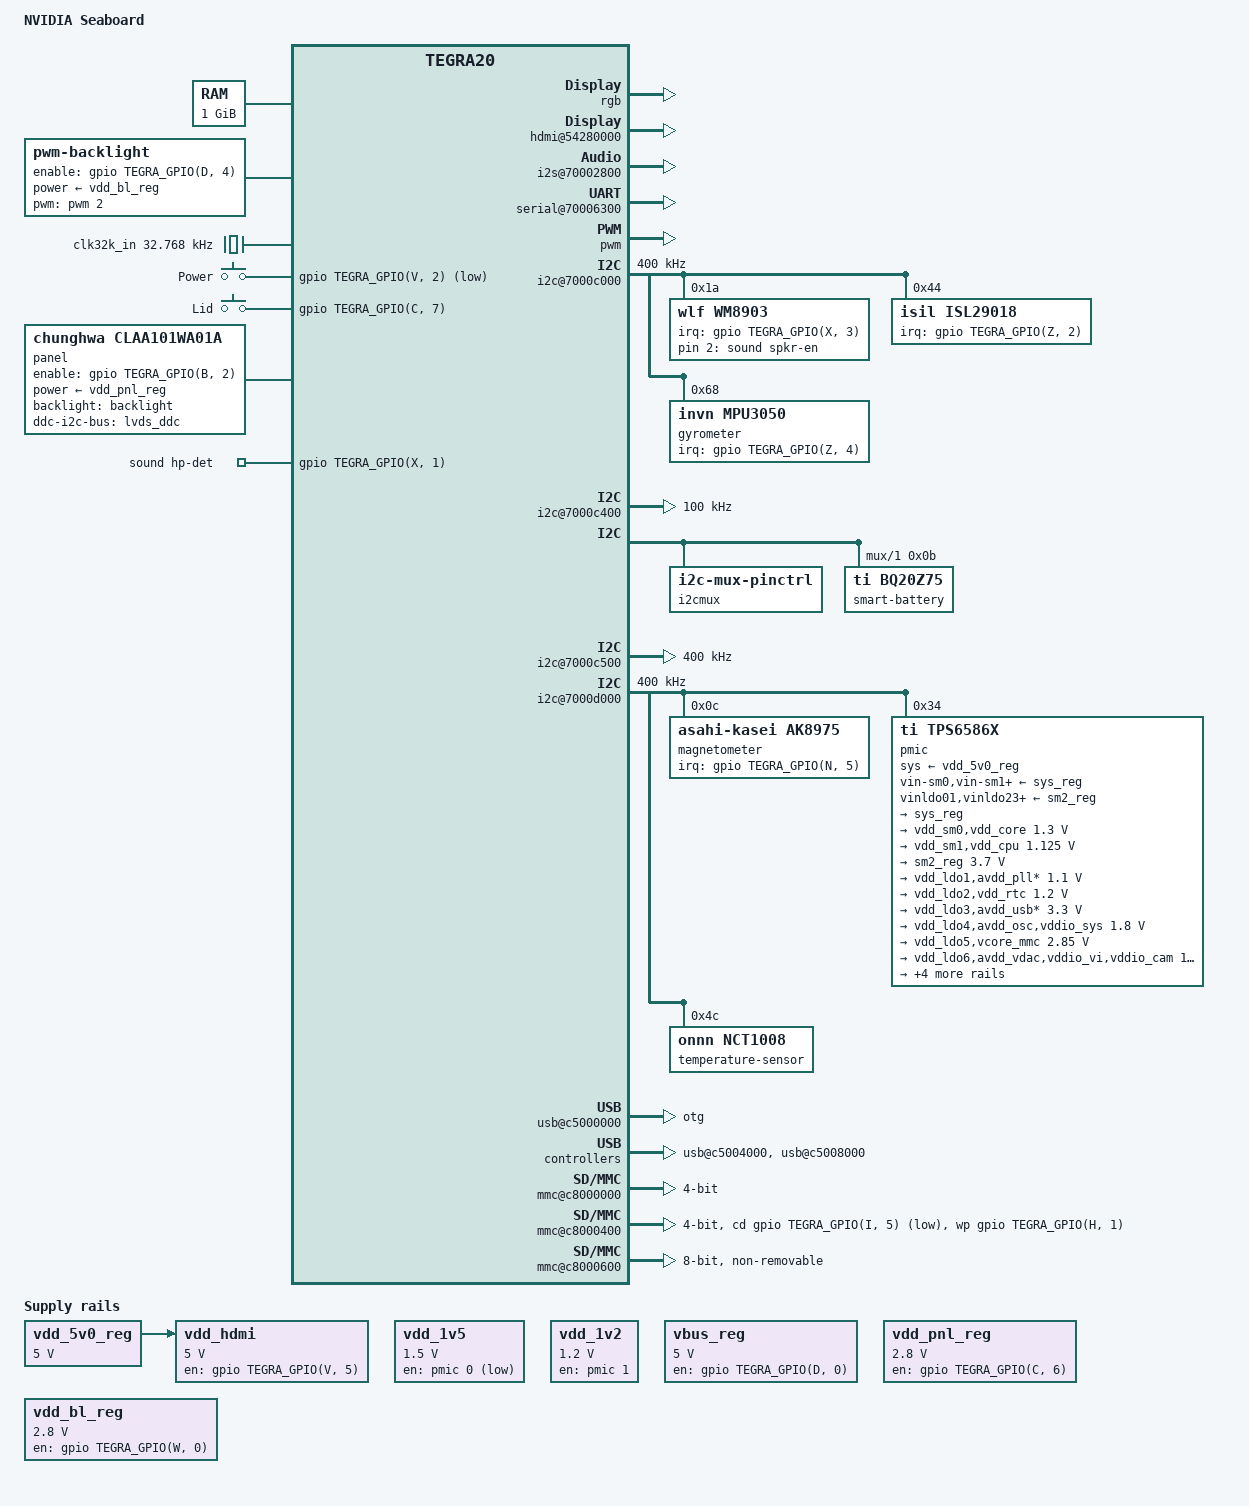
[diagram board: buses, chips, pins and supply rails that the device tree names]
// SPDX-License-Identifier: GPL-2.0
/dts-v1/;

#include <dt-bindings/input/input.h>
#include "tegra20.dtsi"

/ {
	model = "NVIDIA Seaboard";
	compatible = "nvidia,seaboard", "nvidia,tegra20";

	aliases {
		rtc0 = "/i2c@7000d000/tps6586x@34";
		rtc1 = "/rtc@7000e000";
		serial0 = &uartd;
	};

	chosen {
		stdout-path = "serial0:115200n8";
	};

	memory@0 {
		reg = <0x00000000 0x40000000>;
	};

	host1x@50000000 {
		dc@54200000 {
			rgb {
				status = "okay";

				nvidia,panel = <&panel>;
			};
		};

		hdmi@54280000 {
			status = "okay";

			vdd-supply = <&hdmi_vdd_reg>;
			pll-supply = <&hdmi_pll_reg>;
			hdmi-supply = <&vdd_hdmi>;

			nvidia,ddc-i2c-bus = <&hdmi_ddc>;
			nvidia,hpd-gpio = <&gpio TEGRA_GPIO(N, 7)
				GPIO_ACTIVE_HIGH>;
		};
	};

	pinmux@70000014 {
		pinctrl-names = "default";
		pinctrl-0 = <&state_default>;

		state_default: pinmux {
			ata {
				nvidia,pins = "ata";
				nvidia,function = "ide";
			};
			atb {
				nvidia,pins = "atb", "gma", "gme";
				nvidia,function = "sdio4";
			};
			atc {
				nvidia,pins = "atc";
				nvidia,function = "nand";
			};
			atd {
				nvidia,pins = "atd", "ate", "gmb", "spia",
					"spib", "spic";
				nvidia,function = "gmi";
			};
			cdev1 {
				nvidia,pins = "cdev1";
				nvidia,function = "plla_out";
			};
			cdev2 {
				nvidia,pins = "cdev2";
				nvidia,function = "pllp_out4";
			};
			crtp {
				nvidia,pins = "crtp", "lm1";
				nvidia,function = "crt";
			};
			csus {
				nvidia,pins = "csus";
				nvidia,function = "vi_sensor_clk";
			};
			dap1 {
				nvidia,pins = "dap1";
				nvidia,function = "dap1";
			};
			dap2 {
				nvidia,pins = "dap2";
				nvidia,function = "dap2";
			};
			dap3 {
				nvidia,pins = "dap3";
				nvidia,function = "dap3";
			};
			dap4 {
				nvidia,pins = "dap4";
				nvidia,function = "dap4";
			};
			dta {
				nvidia,pins = "dta", "dtb", "dtc", "dtd", "dte";
				nvidia,function = "vi";
			};
			dtf {
				nvidia,pins = "dtf";
				nvidia,function = "i2c3";
			};
			gmc {
				nvidia,pins = "gmc";
				nvidia,function = "uartd";
			};
			gmd {
				nvidia,pins = "gmd";
				nvidia,function = "sflash";
			};
			gpu {
				nvidia,pins = "gpu";
				nvidia,function = "pwm";
			};
			gpu7 {
				nvidia,pins = "gpu7";
				nvidia,function = "rtck";
			};
			gpv {
				nvidia,pins = "gpv", "slxa", "slxk";
				nvidia,function = "pcie";
			};
			hdint {
				nvidia,pins = "hdint", "lpw0", "lpw2", "lsc1",
					"lsck", "lsda";
				nvidia,function = "hdmi";
			};
			i2cp {
				nvidia,pins = "i2cp";
				nvidia,function = "i2cp";
			};
			irrx {
				nvidia,pins = "irrx", "irtx";
				nvidia,function = "uartb";
			};
			kbca {
				nvidia,pins = "kbca", "kbcb", "kbcc", "kbcd",
					"kbce", "kbcf";
				nvidia,function = "kbc";
			};
			lcsn {
				nvidia,pins = "lcsn", "ldc", "lm0", "lpw1",
					"lsdi", "lvp0";
				nvidia,function = "rsvd4";
			};
			ld0 {
				nvidia,pins = "ld0", "ld1", "ld2", "ld3", "ld4",
					"ld5", "ld6", "ld7", "ld8", "ld9",
					"ld10", "ld11", "ld12", "ld13", "ld14",
					"ld15", "ld16", "ld17", "ldi", "lhp0",
					"lhp1", "lhp2", "lhs", "lpp", "lsc0",
					"lspi", "lvp1", "lvs";
				nvidia,function = "displaya";
			};
			owc {
				nvidia,pins = "owc", "spdi", "spdo", "uac";
				nvidia,function = "rsvd2";
			};
			pmc {
				nvidia,pins = "pmc";
				nvidia,function = "pwr_on";
			};
			rm {
				nvidia,pins = "rm";
				nvidia,function = "i2c1";
			};
			sdb {
				nvidia,pins = "sdb", "sdc", "sdd";
				nvidia,function = "sdio3";
			};
			sdio1 {
				nvidia,pins = "sdio1";
				nvidia,function = "sdio1";
			};
			slxc {
				nvidia,pins = "slxc", "slxd";
				nvidia,function = "spdif";
			};
			spid {
				nvidia,pins = "spid", "spie", "spif";
				nvidia,function = "spi1";
			};
			spig {
				nvidia,pins = "spig", "spih";
				nvidia,function = "spi2_alt";
			};
			uaa {
				nvidia,pins = "uaa", "uab", "uda";
				nvidia,function = "ulpi";
			};
			uad {
				nvidia,pins = "uad";
				nvidia,function = "irda";
			};
			uca {
				nvidia,pins = "uca", "ucb";
				nvidia,function = "uartc";
			};
			conf_ata {
				nvidia,pins = "ata", "atb", "atc", "atd",
					"cdev1", "cdev2", "dap1", "dap2",
					"dap4", "ddc", "dtf", "gma", "gmc", "gmd",
					"gme", "gpu", "gpu7", "i2cp", "irrx",
					"irtx", "pta", "rm", "sdc", "sdd",
					"slxd", "slxk", "spdi", "spdo", "uac",
					"uad", "uca", "ucb", "uda";
				nvidia,pull = <TEGRA_PIN_PULL_NONE>;
				nvidia,tristate = <TEGRA_PIN_DISABLE>;
			};
			conf_ate {
				nvidia,pins = "ate", "csus", "dap3",
					"gpv", "owc", "slxc", "spib", "spid",
					"spie";
				nvidia,pull = <TEGRA_PIN_PULL_NONE>;
				nvidia,tristate = <TEGRA_PIN_ENABLE>;
			};
			conf_ck32 {
				nvidia,pins = "ck32", "ddrc", "pmca", "pmcb",
					"pmcc", "pmcd", "pmce", "xm2c", "xm2d";
				nvidia,pull = <TEGRA_PIN_PULL_NONE>;
			};
			conf_crtp {
				nvidia,pins = "crtp", "gmb", "slxa", "spia",
					"spig", "spih";
				nvidia,pull = <TEGRA_PIN_PULL_UP>;
				nvidia,tristate = <TEGRA_PIN_ENABLE>;
			};
			conf_dta {
				nvidia,pins = "dta", "dtb", "dtc", "dtd";
				nvidia,pull = <TEGRA_PIN_PULL_DOWN>;
				nvidia,tristate = <TEGRA_PIN_DISABLE>;
			};
			conf_dte {
				nvidia,pins = "dte", "spif";
				nvidia,pull = <TEGRA_PIN_PULL_DOWN>;
				nvidia,tristate = <TEGRA_PIN_ENABLE>;
			};
			conf_hdint {
				nvidia,pins = "hdint", "lcsn", "ldc", "lm1",
					"lpw1", "lsc1", "lsck", "lsda", "lsdi",
					"lvp0";
				nvidia,tristate = <TEGRA_PIN_ENABLE>;
			};
			conf_kbca {
				nvidia,pins = "kbca", "kbcb", "kbcc", "kbcd",
					"kbce", "kbcf", "sdio1", "spic", "uaa",
					"uab";
				nvidia,pull = <TEGRA_PIN_PULL_UP>;
				nvidia,tristate = <TEGRA_PIN_DISABLE>;
			};
			conf_lc {
				nvidia,pins = "lc", "ls";
				nvidia,pull = <TEGRA_PIN_PULL_UP>;
			};
			conf_ld0 {
				nvidia,pins = "ld0", "ld1", "ld2", "ld3", "ld4",
					"ld5", "ld6", "ld7", "ld8", "ld9",
					"ld10", "ld11", "ld12", "ld13", "ld14",
					"ld15", "ld16", "ld17", "ldi", "lhp0",
					"lhp1", "lhp2", "lhs", "lm0", "lpp",
					"lpw0", "lpw2", "lsc0", "lspi", "lvp1",
					"lvs", "pmc", "sdb";
				nvidia,tristate = <TEGRA_PIN_DISABLE>;
			};
			conf_ld17_0 {
				nvidia,pins = "ld17_0", "ld19_18", "ld21_20",
					"ld23_22";
				nvidia,pull = <TEGRA_PIN_PULL_DOWN>;
			};
			drive_sdio1 {
				nvidia,pins = "drive_sdio1";
				nvidia,high-speed-mode = <TEGRA_PIN_DISABLE>;
				nvidia,schmitt = <TEGRA_PIN_DISABLE>;
				nvidia,low-power-mode = <TEGRA_PIN_LP_DRIVE_DIV_1>;
				nvidia,pull-down-strength = <31>;
				nvidia,pull-up-strength = <31>;
				nvidia,slew-rate-rising = <TEGRA_PIN_SLEW_RATE_SLOWEST>;
				nvidia,slew-rate-falling = <TEGRA_PIN_SLEW_RATE_SLOWEST>;
			};
		};

		state_i2cmux_ddc: pinmux_i2cmux_ddc {
			ddc {
				nvidia,pins = "ddc";
				nvidia,function = "i2c2";
			};
			pta {
				nvidia,pins = "pta";
				nvidia,function = "rsvd4";
			};
		};

		state_i2cmux_pta: pinmux_i2cmux_pta {
			ddc {
				nvidia,pins = "ddc";
				nvidia,function = "rsvd4";
			};
			pta {
				nvidia,pins = "pta";
				nvidia,function = "i2c2";
			};
		};

		state_i2cmux_idle: pinmux_i2cmux_idle {
			ddc {
				nvidia,pins = "ddc";
				nvidia,function = "rsvd4";
			};
			pta {
				nvidia,pins = "pta";
				nvidia,function = "rsvd4";
			};
		};
	};

	i2s@70002800 {
		status = "okay";
	};

	serial@70006300 {
		status = "okay";
	};

	pwm: pwm@7000a000 {
		status = "okay";
	};

	i2c@7000c000 {
		status = "okay";
		clock-frequency = <400000>;

		wm8903: wm8903@1a {
			compatible = "wlf,wm8903";
			reg = <0x1a>;
			interrupt-parent = <&gpio>;
			interrupts = <TEGRA_GPIO(X, 3) IRQ_TYPE_LEVEL_HIGH>;

			gpio-controller;
			#gpio-cells = <2>;

			micdet-cfg = <0>;
			micdet-delay = <100>;
			gpio-cfg = <0xffffffff 0xffffffff 0 0xffffffff 0xffffffff>;
		};

		/* ALS and proximity sensor */
		isl29018@44 {
			compatible = "isil,isl29018";
			reg = <0x44>;
			interrupt-parent = <&gpio>;
			interrupts = <TEGRA_GPIO(Z, 2) IRQ_TYPE_LEVEL_HIGH>;
		};

		gyrometer@68 {
			compatible = "invn,mpu3050";
			reg = <0x68>;
			interrupt-parent = <&gpio>;
			interrupts = <TEGRA_GPIO(Z, 4) IRQ_TYPE_LEVEL_HIGH>;
		};
	};

	i2c@7000c400 {
		status = "okay";
		clock-frequency = <100000>;
	};

	i2cmux {
		compatible = "i2c-mux-pinctrl";
		#address-cells = <1>;
		#size-cells = <0>;

		i2c-parent = <&{/i2c@7000c400}>;

		pinctrl-names = "ddc", "pta", "idle";
		pinctrl-0 = <&state_i2cmux_ddc>;
		pinctrl-1 = <&state_i2cmux_pta>;
		pinctrl-2 = <&state_i2cmux_idle>;

		hdmi_ddc: i2c@0 {
			reg = <0>;
			#address-cells = <1>;
			#size-cells = <0>;
		};

		lvds_ddc: i2c@1 {
			reg = <1>;
			#address-cells = <1>;
			#size-cells = <0>;

			smart-battery@b {
				compatible = "ti,bq20z75", "sbs,sbs-battery";
				reg = <0xb>;
				sbs,i2c-retry-count = <2>;
				sbs,poll-retry-count = <10>;
			};
		};
	};

	i2c@7000c500 {
		status = "okay";
		clock-frequency = <400000>;
	};

	i2c@7000d000 {
		status = "okay";
		clock-frequency = <400000>;

		magnetometer@c {
			compatible = "asahi-kasei,ak8975";
			reg = <0xc>;
			interrupt-parent = <&gpio>;
			interrupts = <TEGRA_GPIO(N, 5) IRQ_TYPE_LEVEL_HIGH>;
		};

		pmic: tps6586x@34 {
			compatible = "ti,tps6586x";
			reg = <0x34>;
			interrupts = <GIC_SPI 86 IRQ_TYPE_LEVEL_HIGH>;

			ti,system-power-controller;

			#gpio-cells = <2>;
			gpio-controller;

			sys-supply = <&vdd_5v0_reg>;
			vin-sm0-supply = <&sys_reg>;
			vin-sm1-supply = <&sys_reg>;
			vin-sm2-supply = <&sys_reg>;
			vinldo01-supply = <&sm2_reg>;
			vinldo23-supply = <&sm2_reg>;
			vinldo4-supply = <&sm2_reg>;
			vinldo678-supply = <&sm2_reg>;
			vinldo9-supply = <&sm2_reg>;

			regulators {
				sys_reg: sys {
					regulator-name = "vdd_sys";
					regulator-always-on;
				};

				sm0 {
					regulator-name = "vdd_sm0,vdd_core";
					regulator-min-microvolt = <1300000>;
					regulator-max-microvolt = <1300000>;
					regulator-always-on;
				};

				sm1 {
					regulator-name = "vdd_sm1,vdd_cpu";
					regulator-min-microvolt = <1125000>;
					regulator-max-microvolt = <1125000>;
					regulator-always-on;
				};

				sm2_reg: sm2 {
					regulator-name = "vdd_sm2,vin_ldo*";
					regulator-min-microvolt = <3700000>;
					regulator-max-microvolt = <3700000>;
					regulator-always-on;
				};

				/* LDO0 is not connected to anything */

				ldo1 {
					regulator-name = "vdd_ldo1,avdd_pll*";
					regulator-min-microvolt = <1100000>;
					regulator-max-microvolt = <1100000>;
					regulator-always-on;
				};

				ldo2 {
					regulator-name = "vdd_ldo2,vdd_rtc";
					regulator-min-microvolt = <1200000>;
					regulator-max-microvolt = <1200000>;
				};

				ldo3 {
					regulator-name = "vdd_ldo3,avdd_usb*";
					regulator-min-microvolt = <3300000>;
					regulator-max-microvolt = <3300000>;
					regulator-always-on;
				};

				ldo4 {
					regulator-name = "vdd_ldo4,avdd_osc,vddio_sys";
					regulator-min-microvolt = <1800000>;
					regulator-max-microvolt = <1800000>;
					regulator-always-on;
				};

				ldo5 {
					regulator-name = "vdd_ldo5,vcore_mmc";
					regulator-min-microvolt = <2850000>;
					regulator-max-microvolt = <2850000>;
					regulator-always-on;
				};

				ldo6 {
					regulator-name = "vdd_ldo6,avdd_vdac,vddio_vi,vddio_cam";
					regulator-min-microvolt = <1800000>;
					regulator-max-microvolt = <1800000>;
				};

				hdmi_vdd_reg: ldo7 {
					regulator-name = "vdd_ldo7,avdd_hdmi,vdd_fuse";
					regulator-min-microvolt = <3300000>;
					regulator-max-microvolt = <3300000>;
				};

				hdmi_pll_reg: ldo8 {
					regulator-name = "vdd_ldo8,avdd_hdmi_pll";
					regulator-min-microvolt = <1800000>;
					regulator-max-microvolt = <1800000>;
				};

				ldo9 {
					regulator-name = "vdd_ldo9,avdd_2v85,vdd_ddr_rx";
					regulator-min-microvolt = <2850000>;
					regulator-max-microvolt = <2850000>;
					regulator-always-on;
				};

				ldo_rtc {
					regulator-name = "vdd_rtc_out,vdd_cell";
					regulator-min-microvolt = <3300000>;
					regulator-max-microvolt = <3300000>;
					regulator-always-on;
				};
			};
		};

		temperature-sensor@4c {
			compatible = "onnn,nct1008";
			reg = <0x4c>;
		};
	};

	kbc@7000e200 {
		status = "okay";
		nvidia,debounce-delay-ms = <32>;
		nvidia,repeat-delay-ms = <160>;
		nvidia,ghost-filter;
		nvidia,kbc-row-pins = <0 1 2 3 4 5 6 7 8 9 10 11 12 13 14 15>;
		nvidia,kbc-col-pins = <16 17 18 19 20 21 22 23>;
		linux,keymap = <MATRIX_KEY(0x00, 0x02, KEY_W)
				MATRIX_KEY(0x00, 0x03, KEY_S)
				MATRIX_KEY(0x00, 0x04, KEY_A)
				MATRIX_KEY(0x00, 0x05, KEY_Z)
				MATRIX_KEY(0x00, 0x07, KEY_FN)

				MATRIX_KEY(0x01, 0x07, KEY_LEFTMETA)
				MATRIX_KEY(0x02, 0x06, KEY_RIGHTALT)
				MATRIX_KEY(0x02, 0x07, KEY_LEFTALT)

				MATRIX_KEY(0x03, 0x00, KEY_5)
				MATRIX_KEY(0x03, 0x01, KEY_4)
				MATRIX_KEY(0x03, 0x02, KEY_R)
				MATRIX_KEY(0x03, 0x03, KEY_E)
				MATRIX_KEY(0x03, 0x04, KEY_F)
				MATRIX_KEY(0x03, 0x05, KEY_D)
				MATRIX_KEY(0x03, 0x06, KEY_X)

				MATRIX_KEY(0x04, 0x00, KEY_7)
				MATRIX_KEY(0x04, 0x01, KEY_6)
				MATRIX_KEY(0x04, 0x02, KEY_T)
				MATRIX_KEY(0x04, 0x03, KEY_H)
				MATRIX_KEY(0x04, 0x04, KEY_G)
				MATRIX_KEY(0x04, 0x05, KEY_V)
				MATRIX_KEY(0x04, 0x06, KEY_C)
				MATRIX_KEY(0x04, 0x07, KEY_SPACE)

				MATRIX_KEY(0x05, 0x00, KEY_9)
				MATRIX_KEY(0x05, 0x01, KEY_8)
				MATRIX_KEY(0x05, 0x02, KEY_U)
				MATRIX_KEY(0x05, 0x03, KEY_Y)
				MATRIX_KEY(0x05, 0x04, KEY_J)
				MATRIX_KEY(0x05, 0x05, KEY_N)
				MATRIX_KEY(0x05, 0x06, KEY_B)
				MATRIX_KEY(0x05, 0x07, KEY_BACKSLASH)

				MATRIX_KEY(0x06, 0x00, KEY_MINUS)
				MATRIX_KEY(0x06, 0x01, KEY_0)
				MATRIX_KEY(0x06, 0x02, KEY_O)
				MATRIX_KEY(0x06, 0x03, KEY_I)
				MATRIX_KEY(0x06, 0x04, KEY_L)
				MATRIX_KEY(0x06, 0x05, KEY_K)
				MATRIX_KEY(0x06, 0x06, KEY_COMMA)
				MATRIX_KEY(0x06, 0x07, KEY_M)

				MATRIX_KEY(0x07, 0x01, KEY_EQUAL)
				MATRIX_KEY(0x07, 0x02, KEY_RIGHTBRACE)
				MATRIX_KEY(0x07, 0x03, KEY_ENTER)
				MATRIX_KEY(0x07, 0x07, KEY_MENU)

				MATRIX_KEY(0x08, 0x04, KEY_RIGHTSHIFT)
				MATRIX_KEY(0x08, 0x05, KEY_LEFTSHIFT)

				MATRIX_KEY(0x09, 0x05, KEY_RIGHTCTRL)
				MATRIX_KEY(0x09, 0x07, KEY_LEFTCTRL)

				MATRIX_KEY(0x0B, 0x00, KEY_LEFTBRACE)
				MATRIX_KEY(0x0B, 0x01, KEY_P)
				MATRIX_KEY(0x0B, 0x02, KEY_APOSTROPHE)
				MATRIX_KEY(0x0B, 0x03, KEY_SEMICOLON)
				MATRIX_KEY(0x0B, 0x04, KEY_SLASH)
				MATRIX_KEY(0x0B, 0x05, KEY_DOT)

				MATRIX_KEY(0x0C, 0x00, KEY_F10)
				MATRIX_KEY(0x0C, 0x01, KEY_F9)
				MATRIX_KEY(0x0C, 0x02, KEY_BACKSPACE)
				MATRIX_KEY(0x0C, 0x03, KEY_3)
				MATRIX_KEY(0x0C, 0x04, KEY_2)
				MATRIX_KEY(0x0C, 0x05, KEY_UP)
				MATRIX_KEY(0x0C, 0x06, KEY_PRINT)
				MATRIX_KEY(0x0C, 0x07, KEY_PAUSE)

				MATRIX_KEY(0x0D, 0x00, KEY_INSERT)
				MATRIX_KEY(0x0D, 0x01, KEY_DELETE)
				MATRIX_KEY(0x0D, 0x03, KEY_PAGEUP )
				MATRIX_KEY(0x0D, 0x04, KEY_PAGEDOWN)
				MATRIX_KEY(0x0D, 0x05, KEY_RIGHT)
				MATRIX_KEY(0x0D, 0x06, KEY_DOWN)
				MATRIX_KEY(0x0D, 0x07, KEY_LEFT)

				MATRIX_KEY(0x0E, 0x00, KEY_F11)
				MATRIX_KEY(0x0E, 0x01, KEY_F12)
				MATRIX_KEY(0x0E, 0x02, KEY_F8)
				MATRIX_KEY(0x0E, 0x03, KEY_Q)
				MATRIX_KEY(0x0E, 0x04, KEY_F4)
				MATRIX_KEY(0x0E, 0x05, KEY_F3)
				MATRIX_KEY(0x0E, 0x06, KEY_1)
				MATRIX_KEY(0x0E, 0x07, KEY_F7)

				MATRIX_KEY(0x0F, 0x00, KEY_ESC)
				MATRIX_KEY(0x0F, 0x01, KEY_GRAVE)
				MATRIX_KEY(0x0F, 0x02, KEY_F5)
				MATRIX_KEY(0x0F, 0x03, KEY_TAB)
				MATRIX_KEY(0x0F, 0x04, KEY_F1)
				MATRIX_KEY(0x0F, 0x05, KEY_F2)
				MATRIX_KEY(0x0F, 0x06, KEY_CAPSLOCK)
				MATRIX_KEY(0x0F, 0x07, KEY_F6)

				/* Software Handled Function Keys */
				MATRIX_KEY(0x14, 0x00, KEY_KP7)

				MATRIX_KEY(0x15, 0x00, KEY_KP9)
				MATRIX_KEY(0x15, 0x01, KEY_KP8)
				MATRIX_KEY(0x15, 0x02, KEY_KP4)
				MATRIX_KEY(0x15, 0x04, KEY_KP1)

				MATRIX_KEY(0x16, 0x01, KEY_KPSLASH)
				MATRIX_KEY(0x16, 0x02, KEY_KP6)
				MATRIX_KEY(0x16, 0x03, KEY_KP5)
				MATRIX_KEY(0x16, 0x04, KEY_KP3)
				MATRIX_KEY(0x16, 0x05, KEY_KP2)
				MATRIX_KEY(0x16, 0x07, KEY_KP0)

				MATRIX_KEY(0x1B, 0x01, KEY_KPASTERISK)
				MATRIX_KEY(0x1B, 0x03, KEY_KPMINUS)
				MATRIX_KEY(0x1B, 0x04, KEY_KPPLUS)
				MATRIX_KEY(0x1B, 0x05, KEY_KPDOT)

				MATRIX_KEY(0x1C, 0x05, KEY_VOLUMEUP)

				MATRIX_KEY(0x1D, 0x03, KEY_HOME)
				MATRIX_KEY(0x1D, 0x04, KEY_END)
				MATRIX_KEY(0x1D, 0x05, KEY_BRIGHTNESSDOWN)
				MATRIX_KEY(0x1D, 0x06, KEY_VOLUMEDOWN)
				MATRIX_KEY(0x1D, 0x07, KEY_BRIGHTNESSUP)

				MATRIX_KEY(0x1E, 0x00, KEY_NUMLOCK)
				MATRIX_KEY(0x1E, 0x01, KEY_SCROLLLOCK)
				MATRIX_KEY(0x1E, 0x02, KEY_MUTE)

				MATRIX_KEY(0x1F, 0x04, KEY_HELP)>;
	};

	pmc@7000e400 {
		nvidia,invert-interrupt;
		nvidia,suspend-mode = <1>;
		nvidia,cpu-pwr-good-time = <5000>;
		nvidia,cpu-pwr-off-time = <5000>;
		nvidia,core-pwr-good-time = <3845 3845>;
		nvidia,core-pwr-off-time = <3875>;
		nvidia,sys-clock-req-active-high;
	};

	memory-controller@7000f400 {
		emc-table@190000 {
			reg = <190000>;
			compatible = "nvidia,tegra20-emc-table";
			clock-frequency = <190000>;
			nvidia,emc-registers = <0x0000000c 0x00000026
				0x00000009 0x00000003 0x00000004 0x00000004
				0x00000002 0x0000000c 0x00000003 0x00000003
				0x00000002 0x00000001 0x00000004 0x00000005
				0x00000004 0x00000009 0x0000000d 0x0000059f
				0x00000000 0x00000003 0x00000003 0x00000003
				0x00000003 0x00000001 0x0000000b 0x000000c8
				0x00000003 0x00000007 0x00000004 0x0000000f
				0x00000002 0x00000000 0x00000000 0x00000002
				0x00000000 0x00000000 0x00000083 0xa06204ae
				0x007dc010 0x00000000 0x00000000 0x00000000
				0x00000000 0x00000000 0x00000000 0x00000000>;
		};

		emc-table@380000 {
			reg = <380000>;
			compatible = "nvidia,tegra20-emc-table";
			clock-frequency = <380000>;
			nvidia,emc-registers = <0x00000017 0x0000004b
				0x00000012 0x00000006 0x00000004 0x00000005
				0x00000003 0x0000000c 0x00000006 0x00000006
				0x00000003 0x00000001 0x00000004 0x00000005
				0x00000004 0x00000009 0x0000000d 0x00000b5f
				0x00000000 0x00000003 0x00000003 0x00000006
				0x00000006 0x00000001 0x00000011 0x000000c8
				0x00000003 0x0000000e 0x00000007 0x0000000f
				0x00000002 0x00000000 0x00000000 0x00000002
				0x00000000 0x00000000 0x00000083 0xe044048b
				0x007d8010 0x00000000 0x00000000 0x00000000
				0x00000000 0x00000000 0x00000000 0x00000000>;
		};
	};

	usb@c5000000 {
		status = "okay";
		dr_mode = "otg";
	};

	usb-phy@c5000000 {
		status = "okay";
		vbus-supply = <&vbus_reg>;
		dr_mode = "otg";
	};

	usb@c5004000 {
		status = "okay";
		nvidia,phy-reset-gpio = <&gpio TEGRA_GPIO(V, 1)
			GPIO_ACTIVE_LOW>;
	};

	usb-phy@c5004000 {
		status = "okay";
		nvidia,phy-reset-gpio = <&gpio TEGRA_GPIO(V, 1)
			GPIO_ACTIVE_LOW>;
	};

	usb@c5008000 {
		status = "okay";
	};

	usb-phy@c5008000 {
		status = "okay";
	};

	mmc@c8000000 {
		status = "okay";
		power-gpios = <&gpio TEGRA_GPIO(K, 6) GPIO_ACTIVE_HIGH>;
		bus-width = <4>;
		keep-power-in-suspend;
	};

	mmc@c8000400 {
		status = "okay";
		cd-gpios = <&gpio TEGRA_GPIO(I, 5) GPIO_ACTIVE_LOW>;
		wp-gpios = <&gpio TEGRA_GPIO(H, 1) GPIO_ACTIVE_HIGH>;
		power-gpios = <&gpio TEGRA_GPIO(I, 6) GPIO_ACTIVE_HIGH>;
		bus-width = <4>;
	};

	mmc@c8000600 {
		status = "okay";
		bus-width = <8>;
		non-removable;
	};

	backlight: backlight {
		compatible = "pwm-backlight";

		enable-gpios = <&gpio TEGRA_GPIO(D, 4) GPIO_ACTIVE_HIGH>;
		power-supply = <&vdd_bl_reg>;
		pwms = <&pwm 2 5000000>;

		brightness-levels = <0 4 8 16 32 64 128 255>;
		default-brightness-level = <6>;
	};

	clk32k_in: clock@0 {
		compatible = "fixed-clock";
		clock-frequency = <32768>;
		#clock-cells = <0>;
	};

	gpio-keys {
		compatible = "gpio-keys";

		power {
			label = "Power";
			gpios = <&gpio TEGRA_GPIO(V, 2) GPIO_ACTIVE_LOW>;
			linux,code = <KEY_POWER>;
			wakeup-source;
		};

		lid {
			label = "Lid";
			gpios = <&gpio TEGRA_GPIO(C, 7) GPIO_ACTIVE_HIGH>;
			linux,input-type = <5>; /* EV_SW */
			linux,code = <0>; /* SW_LID */
			debounce-interval = <1>;
			wakeup-source;
		};
	};

	panel: panel {
		compatible = "chunghwa,claa101wa01a";

		power-supply = <&vdd_pnl_reg>;
		enable-gpios = <&gpio TEGRA_GPIO(B, 2) GPIO_ACTIVE_HIGH>;

		backlight = <&backlight>;
		ddc-i2c-bus = <&lvds_ddc>;
	};

	vdd_5v0_reg: regulator@0 {
		compatible = "regulator-fixed";
		regulator-name = "vdd_5v0";
		regulator-min-microvolt = <5000000>;
		regulator-max-microvolt = <5000000>;
		regulator-always-on;
	};

	regulator@1 {
		compatible = "regulator-fixed";
		regulator-name = "vdd_1v5";
		regulator-min-microvolt = <1500000>;
		regulator-max-microvolt = <1500000>;
		gpio = <&pmic 0 GPIO_ACTIVE_HIGH>;
	};

	regulator@2 {
		compatible = "regulator-fixed";
		regulator-name = "vdd_1v2";
		regulator-min-microvolt = <1200000>;
		regulator-max-microvolt = <1200000>;
		gpio = <&pmic 1 GPIO_ACTIVE_HIGH>;
		enable-active-high;
	};

	vbus_reg: regulator@3 {
		compatible = "regulator-fixed";
		regulator-name = "vdd_vbus_wup1";
		regulator-min-microvolt = <5000000>;
		regulator-max-microvolt = <5000000>;
		enable-active-high;
		gpio = <&gpio TEGRA_GPIO(D, 0) 0>;
		regulator-always-on;
		regulator-boot-on;
	};

	vdd_pnl_reg: regulator@4 {
		compatible = "regulator-fixed";
		regulator-name = "vdd_pnl";
		regulator-min-microvolt = <2800000>;
		regulator-max-microvolt = <2800000>;
		gpio = <&gpio TEGRA_GPIO(C, 6) GPIO_ACTIVE_HIGH>;
		enable-active-high;
	};

	vdd_bl_reg: regulator@5 {
		compatible = "regulator-fixed";
		regulator-name = "vdd_bl";
		regulator-min-microvolt = <2800000>;
		regulator-max-microvolt = <2800000>;
		gpio = <&gpio TEGRA_GPIO(W, 0) GPIO_ACTIVE_HIGH>;
		enable-active-high;
	};

	vdd_hdmi: regulator@6 {
		compatible = "regulator-fixed";
		regulator-name = "VDDIO_HDMI";
		regulator-min-microvolt = <5000000>;
		regulator-max-microvolt = <5000000>;
		gpio = <&gpio TEGRA_GPIO(V, 5) GPIO_ACTIVE_HIGH>;
		enable-active-high;
		vin-supply = <&vdd_5v0_reg>;
	};

	sound {
		compatible = "nvidia,tegra-audio-wm8903-seaboard",
			     "nvidia,tegra-audio-wm8903";
		nvidia,model = "NVIDIA Tegra Seaboard";

		nvidia,audio-routing =
			"Headphone Jack", "HPOUTR",
			"Headphone Jack", "HPOUTL",
			"Int Spk", "ROP",
			"Int Spk", "RON",
			"Int Spk", "LOP",
			"Int Spk", "LON",
			"Mic Jack", "MICBIAS",
			"IN1R", "Mic Jack";

		nvidia,i2s-controller = <&tegra_i2s1>;
		nvidia,audio-codec = <&wm8903>;

		nvidia,spkr-en-gpios = <&wm8903 2 GPIO_ACTIVE_HIGH>;
		nvidia,hp-det-gpios = <&gpio TEGRA_GPIO(X, 1) GPIO_ACTIVE_HIGH>;

		clocks = <&tegra_car TEGRA20_CLK_PLL_A>,
			 <&tegra_car TEGRA20_CLK_PLL_A_OUT0>,
			 <&tegra_car TEGRA20_CLK_CDEV1>;
		clock-names = "pll_a", "pll_a_out0", "mclk";
	};
};
